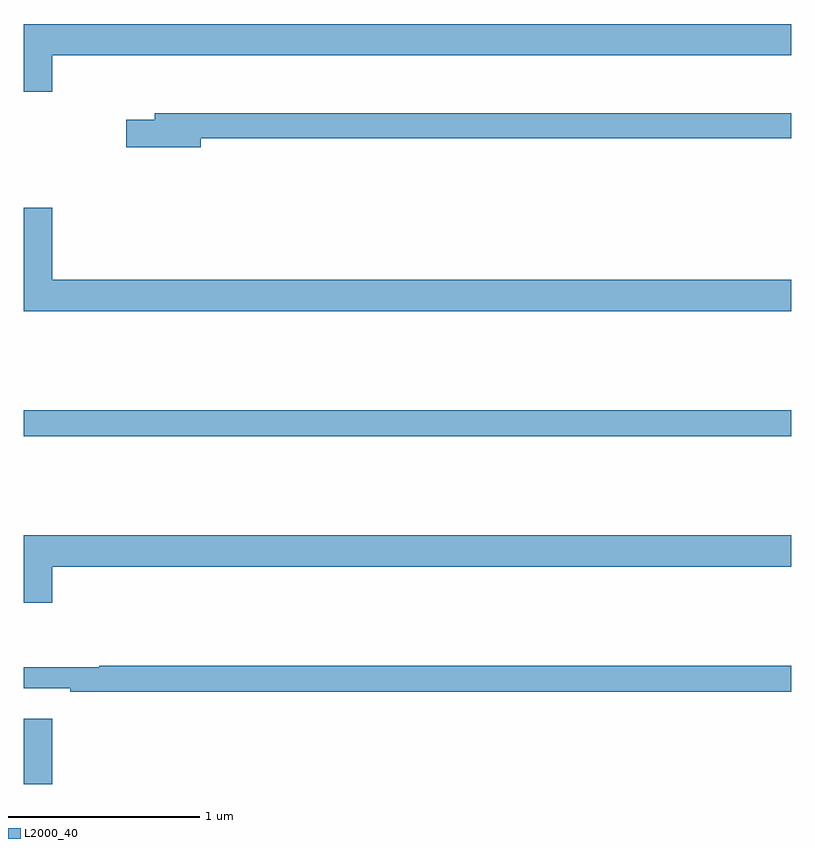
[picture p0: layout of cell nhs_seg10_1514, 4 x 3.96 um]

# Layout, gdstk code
import gdstk
lib = gdstk.Library(unit=1e-6, precision=1e-09)
def R(c, l, rs):  # rectangles x0, y0, x1, y1
    for r in rs: c.add(gdstk.rectangle(r[:2], r[2:], *l))
def P(c, l, *ps):  # polygons
    for p in ps: c.add(gdstk.Polygon(p, *l))
L2000_40 = (2000, 40)

nhs_seg10_1514 = lib.new_cell('nhs_seg10_1514')
R(nhs_seg10_1514, L2000_40, [(189,1316.5,189.148,1316.839), (189,1318.312,193,1318.448)])
P(nhs_seg10_1514, L2000_40, [(189.148,1320.296),(193,1320.296),(193,1320.46),(189,1320.46),(189,1320.108),(189.148,1320.108)],
  [(189.922,1319.866),(193,1319.866),(193,1319.995),(189.683,1319.995),(189.683,1319.961),(189.534,1319.961),(189.534,1319.819),(189.922,1319.819)],
  [(193,1319.128),(189.148,1319.128),(189.148,1319.503),(189,1319.503),(189,1318.964),(193,1318.964)],
  [(189.148,1317.632),(193,1317.632),(193,1317.796),(189,1317.796),(189,1317.444),(189.148,1317.444)],
  [(193,1317.116),(189.394,1317.116),(189.394,1317.109),(189,1317.109),(189,1316.999),(189.244,1316.999),(189.244,1316.98),(193,1316.98)])

lib.write_gds('nhs_seg10_1514.gds')
